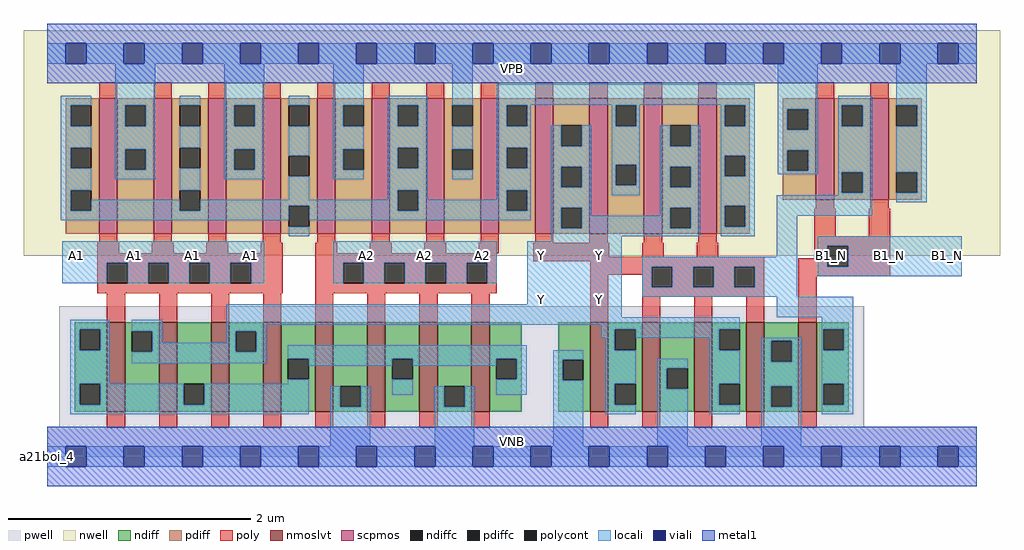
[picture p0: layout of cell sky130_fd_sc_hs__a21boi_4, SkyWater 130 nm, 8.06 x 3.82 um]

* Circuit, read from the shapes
.subckt sky130_fd_sc_hs__a21boi_4 A1 A2 B1_N VGND VNB VPB VPWR Y
XM1 Y A1 n1 VNB sky130_fd_pr__nfet_01v8_lvt w=0.74 l=0.15 m=4
XM2 VGND A2 n1 VNB sky130_fd_pr__nfet_01v8_lvt w=0.74 l=0.15 m=4
XM3 Y n2 VGND VNB sky130_fd_pr__nfet_01v8_lvt w=0.74 l=0.15 m=4
XM4 n2 B1_N VGND VNB sky130_fd_pr__nfet_01v8_lvt w=0.74 l=0.15
XM5 VPWR A1 n3 VPB sky130_fd_pr__pfet_01v8 w=1.12 l=0.15 m=4
XM6 VPWR A2 n3 VPB sky130_fd_pr__pfet_01v8 w=1.12 l=0.15 m=4
XM7 Y n2 n3 VPB sky130_fd_pr__pfet_01v8 w=1.12 l=0.15 m=4
XM8 n2 B1_N VPWR VPB sky130_fd_pr__pfet_01v8 w=0.84 l=0.15 m=2
.ends

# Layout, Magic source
magic
tech sky130A
magscale 1 2
<< nwell >>
rect -38 332 1574 704
<< pwell >>
rect 20 49 1350 248
rect 0 0 1536 49
<< scpmos >>
rect 86 368 116 592
rect 176 368 206 592
rect 266 368 296 592
rect 356 368 386 592
rect 446 368 476 592
rect 536 368 566 592
rect 626 368 656 592
rect 716 368 746 592
rect 806 368 836 592
rect 896 368 926 592
rect 986 368 1016 592
rect 1076 368 1106 592
rect 1270 424 1300 592
rect 1360 424 1390 592
<< nmoslvt >>
rect 99 74 129 222
rect 185 74 215 222
rect 271 74 301 222
rect 357 74 387 222
rect 443 74 473 222
rect 529 74 559 222
rect 615 74 645 222
rect 701 74 731 222
rect 897 74 927 222
rect 983 74 1013 222
rect 1069 74 1099 222
rect 1155 74 1185 222
rect 1241 74 1271 222
<< ndiff >>
rect 46 210 99 222
rect 46 176 54 210
rect 88 176 99 210
rect 46 120 99 176
rect 46 86 54 120
rect 88 86 99 120
rect 46 74 99 86
rect 129 207 185 222
rect 129 173 140 207
rect 174 173 185 207
rect 129 74 185 173
rect 215 120 271 222
rect 215 86 226 120
rect 260 86 271 120
rect 215 74 271 86
rect 301 207 357 222
rect 301 173 312 207
rect 346 173 357 207
rect 301 74 357 173
rect 387 162 443 222
rect 387 128 398 162
rect 432 128 443 162
rect 387 74 443 128
rect 473 116 529 222
rect 473 82 484 116
rect 518 82 529 116
rect 473 74 529 82
rect 559 162 615 222
rect 559 128 570 162
rect 604 128 615 162
rect 559 74 615 128
rect 645 116 701 222
rect 645 82 656 116
rect 690 82 701 116
rect 645 74 701 82
rect 731 162 784 222
rect 731 128 742 162
rect 776 128 784 162
rect 731 74 784 128
rect 844 160 897 222
rect 844 126 852 160
rect 886 126 897 160
rect 844 74 897 126
rect 927 210 983 222
rect 927 176 938 210
rect 972 176 983 210
rect 927 120 983 176
rect 927 86 938 120
rect 972 86 983 120
rect 927 74 983 86
rect 1013 146 1069 222
rect 1013 112 1024 146
rect 1058 112 1069 146
rect 1013 74 1069 112
rect 1099 210 1155 222
rect 1099 176 1110 210
rect 1144 176 1155 210
rect 1099 120 1155 176
rect 1099 86 1110 120
rect 1144 86 1155 120
rect 1099 74 1155 86
rect 1185 191 1241 222
rect 1185 157 1196 191
rect 1230 157 1241 191
rect 1185 116 1241 157
rect 1185 82 1196 116
rect 1230 82 1241 116
rect 1185 74 1241 82
rect 1271 210 1324 222
rect 1271 176 1282 210
rect 1316 176 1324 210
rect 1271 120 1324 176
rect 1271 86 1282 120
rect 1316 86 1324 120
rect 1271 74 1324 86
<< pdiff >>
rect 31 580 86 592
rect 31 546 39 580
rect 73 546 86 580
rect 31 510 86 546
rect 31 476 39 510
rect 73 476 86 510
rect 31 440 86 476
rect 31 406 39 440
rect 73 406 86 440
rect 31 368 86 406
rect 116 580 176 592
rect 116 546 129 580
rect 163 546 176 580
rect 116 508 176 546
rect 116 474 129 508
rect 163 474 176 508
rect 116 368 176 474
rect 206 580 266 592
rect 206 546 219 580
rect 253 546 266 580
rect 206 510 266 546
rect 206 476 219 510
rect 253 476 266 510
rect 206 440 266 476
rect 206 406 219 440
rect 253 406 266 440
rect 206 368 266 406
rect 296 580 356 592
rect 296 546 309 580
rect 343 546 356 580
rect 296 508 356 546
rect 296 474 309 508
rect 343 474 356 508
rect 296 368 356 474
rect 386 580 446 592
rect 386 546 399 580
rect 433 546 446 580
rect 386 497 446 546
rect 386 463 399 497
rect 433 463 446 497
rect 386 414 446 463
rect 386 380 399 414
rect 433 380 446 414
rect 386 368 446 380
rect 476 580 536 592
rect 476 546 489 580
rect 523 546 536 580
rect 476 508 536 546
rect 476 474 489 508
rect 523 474 536 508
rect 476 368 536 474
rect 566 580 626 592
rect 566 546 579 580
rect 613 546 626 580
rect 566 510 626 546
rect 566 476 579 510
rect 613 476 626 510
rect 566 440 626 476
rect 566 406 579 440
rect 613 406 626 440
rect 566 368 626 406
rect 656 580 716 592
rect 656 546 669 580
rect 703 546 716 580
rect 656 508 716 546
rect 656 474 669 508
rect 703 474 716 508
rect 656 368 716 474
rect 746 580 806 592
rect 746 546 759 580
rect 793 546 806 580
rect 746 510 806 546
rect 746 476 759 510
rect 793 476 806 510
rect 746 440 806 476
rect 746 406 759 440
rect 793 406 806 440
rect 746 368 806 406
rect 836 547 896 592
rect 836 513 849 547
rect 883 513 896 547
rect 836 479 896 513
rect 836 445 849 479
rect 883 445 896 479
rect 836 411 896 445
rect 836 377 849 411
rect 883 377 896 411
rect 836 368 896 377
rect 926 580 986 592
rect 926 546 939 580
rect 973 546 986 580
rect 926 482 986 546
rect 926 448 939 482
rect 973 448 986 482
rect 926 368 986 448
rect 1016 547 1076 592
rect 1016 513 1029 547
rect 1063 513 1076 547
rect 1016 479 1076 513
rect 1016 445 1029 479
rect 1063 445 1076 479
rect 1016 411 1076 445
rect 1016 377 1029 411
rect 1063 377 1076 411
rect 1016 368 1076 377
rect 1106 580 1161 592
rect 1106 546 1119 580
rect 1153 546 1161 580
rect 1106 497 1161 546
rect 1106 463 1119 497
rect 1153 463 1161 497
rect 1106 414 1161 463
rect 1215 574 1270 592
rect 1215 540 1223 574
rect 1257 540 1270 574
rect 1215 506 1270 540
rect 1215 472 1223 506
rect 1257 472 1270 506
rect 1215 424 1270 472
rect 1300 580 1360 592
rect 1300 546 1313 580
rect 1347 546 1360 580
rect 1300 470 1360 546
rect 1300 436 1313 470
rect 1347 436 1360 470
rect 1300 424 1360 436
rect 1390 580 1445 592
rect 1390 546 1403 580
rect 1437 546 1445 580
rect 1390 470 1445 546
rect 1390 436 1403 470
rect 1437 436 1445 470
rect 1390 424 1445 436
rect 1106 380 1119 414
rect 1153 380 1161 414
rect 1106 368 1161 380
<< ndiffc >>
rect 54 176 88 210
rect 54 86 88 120
rect 140 173 174 207
rect 226 86 260 120
rect 312 173 346 207
rect 398 128 432 162
rect 484 82 518 116
rect 570 128 604 162
rect 656 82 690 116
rect 742 128 776 162
rect 852 126 886 160
rect 938 176 972 210
rect 938 86 972 120
rect 1024 112 1058 146
rect 1110 176 1144 210
rect 1110 86 1144 120
rect 1196 157 1230 191
rect 1196 82 1230 116
rect 1282 176 1316 210
rect 1282 86 1316 120
<< pdiffc >>
rect 39 546 73 580
rect 39 476 73 510
rect 39 406 73 440
rect 129 546 163 580
rect 129 474 163 508
rect 219 546 253 580
rect 219 476 253 510
rect 219 406 253 440
rect 309 546 343 580
rect 309 474 343 508
rect 399 546 433 580
rect 399 463 433 497
rect 399 380 433 414
rect 489 546 523 580
rect 489 474 523 508
rect 579 546 613 580
rect 579 476 613 510
rect 579 406 613 440
rect 669 546 703 580
rect 669 474 703 508
rect 759 546 793 580
rect 759 476 793 510
rect 759 406 793 440
rect 849 513 883 547
rect 849 445 883 479
rect 849 377 883 411
rect 939 546 973 580
rect 939 448 973 482
rect 1029 513 1063 547
rect 1029 445 1063 479
rect 1029 377 1063 411
rect 1119 546 1153 580
rect 1119 463 1153 497
rect 1223 540 1257 574
rect 1223 472 1257 506
rect 1313 546 1347 580
rect 1313 436 1347 470
rect 1403 546 1437 580
rect 1403 436 1437 470
rect 1119 380 1153 414
<< poly >>
rect 86 592 116 618
rect 176 592 206 618
rect 266 592 296 618
rect 356 592 386 618
rect 446 592 476 618
rect 536 592 566 618
rect 626 592 656 618
rect 716 592 746 618
rect 806 592 836 618
rect 896 592 926 618
rect 986 592 1016 618
rect 1076 592 1106 618
rect 1270 592 1300 618
rect 1360 592 1390 618
rect 1270 409 1300 424
rect 1360 409 1390 424
rect 86 353 116 368
rect 176 353 206 368
rect 266 353 296 368
rect 356 353 386 368
rect 446 353 476 368
rect 536 353 566 368
rect 626 353 656 368
rect 716 353 746 368
rect 806 353 836 368
rect 896 353 926 368
rect 986 353 1016 368
rect 1076 353 1106 368
rect 1267 364 1303 409
rect 1357 364 1393 409
rect 83 336 119 353
rect 173 336 209 353
rect 263 336 299 353
rect 353 336 389 353
rect 83 320 389 336
rect 83 286 99 320
rect 133 286 167 320
rect 201 286 235 320
rect 269 286 303 320
rect 337 286 389 320
rect 83 270 389 286
rect 443 336 479 353
rect 533 336 569 353
rect 623 336 659 353
rect 713 336 746 353
rect 443 320 743 336
rect 803 330 929 353
rect 983 330 1019 353
rect 1073 330 1109 353
rect 1267 348 1393 364
rect 803 323 1185 330
rect 1267 328 1289 348
rect 443 286 489 320
rect 523 286 557 320
rect 591 286 625 320
rect 659 286 693 320
rect 727 286 743 320
rect 443 270 743 286
rect 897 314 1185 323
rect 897 300 999 314
rect 99 222 129 270
rect 185 222 215 270
rect 271 222 301 270
rect 357 222 387 270
rect 443 222 473 270
rect 529 222 559 270
rect 615 222 645 270
rect 701 222 731 270
rect 897 222 927 300
rect 983 280 999 300
rect 1033 280 1067 314
rect 1101 280 1135 314
rect 1169 280 1185 314
rect 983 264 1185 280
rect 983 222 1013 264
rect 1069 222 1099 264
rect 1155 222 1185 264
rect 1241 314 1289 328
rect 1323 314 1393 348
rect 1241 298 1393 314
rect 1241 222 1271 298
rect 99 48 129 74
rect 185 48 215 74
rect 271 48 301 74
rect 357 48 387 74
rect 443 48 473 74
rect 529 48 559 74
rect 615 48 645 74
rect 701 48 731 74
rect 897 48 927 74
rect 983 48 1013 74
rect 1069 48 1099 74
rect 1155 48 1185 74
rect 1241 48 1271 74
<< polycont >>
rect 99 286 133 320
rect 167 286 201 320
rect 235 286 269 320
rect 303 286 337 320
rect 489 286 523 320
rect 557 286 591 320
rect 625 286 659 320
rect 693 286 727 320
rect 999 280 1033 314
rect 1067 280 1101 314
rect 1135 280 1169 314
rect 1289 314 1323 348
<< locali >>
rect 0 649 31 683
rect 65 649 127 683
rect 161 649 223 683
rect 257 649 319 683
rect 353 649 415 683
rect 449 649 511 683
rect 545 649 607 683
rect 641 649 703 683
rect 737 649 799 683
rect 833 649 895 683
rect 929 649 991 683
rect 1025 649 1087 683
rect 1121 649 1183 683
rect 1217 649 1279 683
rect 1313 649 1375 683
rect 1409 649 1471 683
rect 1505 649 1536 683
rect 23 580 73 596
rect 23 546 39 580
rect 23 510 73 546
rect 23 476 39 510
rect 23 440 73 476
rect 113 580 179 649
rect 113 546 129 580
rect 163 546 179 580
rect 113 508 179 546
rect 113 474 129 508
rect 163 474 179 508
rect 113 458 179 474
rect 219 580 253 596
rect 219 510 253 546
rect 23 406 39 440
rect 219 440 253 476
rect 293 580 359 649
rect 293 546 309 580
rect 343 546 359 580
rect 293 508 359 546
rect 293 474 309 508
rect 343 474 359 508
rect 293 458 359 474
rect 399 580 433 596
rect 399 497 433 546
rect 73 406 219 424
rect 399 424 433 463
rect 473 580 523 649
rect 473 546 489 580
rect 473 508 523 546
rect 473 474 489 508
rect 473 458 523 474
rect 563 580 629 596
rect 563 546 579 580
rect 613 546 629 580
rect 563 510 629 546
rect 563 476 579 510
rect 613 476 629 510
rect 563 440 629 476
rect 669 580 703 649
rect 669 508 703 546
rect 669 458 703 474
rect 743 581 1169 615
rect 743 580 799 581
rect 743 546 759 580
rect 793 546 799 580
rect 933 580 979 581
rect 743 510 799 546
rect 743 476 759 510
rect 793 476 799 510
rect 563 424 579 440
rect 253 414 579 424
rect 253 406 399 414
rect 23 390 399 406
rect 433 406 579 414
rect 613 424 629 440
rect 743 440 799 476
rect 743 424 759 440
rect 613 406 759 424
rect 793 406 799 440
rect 433 390 799 406
rect 833 513 849 547
rect 883 513 899 547
rect 833 479 899 513
rect 833 445 849 479
rect 883 445 899 479
rect 833 411 899 445
rect 933 546 939 580
rect 973 546 979 580
rect 1113 580 1169 581
rect 933 482 979 546
rect 933 448 939 482
rect 973 448 979 482
rect 933 432 979 448
rect 1013 513 1029 547
rect 1063 513 1079 547
rect 1013 479 1079 513
rect 1013 445 1029 479
rect 1063 445 1079 479
rect 399 364 433 380
rect 833 377 849 411
rect 883 398 899 411
rect 1013 411 1079 445
rect 1013 398 1029 411
rect 883 377 1029 398
rect 1063 377 1079 411
rect 833 364 1079 377
rect 1113 546 1119 580
rect 1153 546 1169 580
rect 1113 497 1169 546
rect 1113 463 1119 497
rect 1153 463 1169 497
rect 1207 574 1273 649
rect 1207 540 1223 574
rect 1257 540 1273 574
rect 1207 506 1273 540
rect 1207 472 1223 506
rect 1257 472 1273 506
rect 1207 466 1273 472
rect 1307 580 1363 596
rect 1307 546 1313 580
rect 1347 546 1363 580
rect 1307 470 1363 546
rect 1113 414 1169 463
rect 1307 436 1313 470
rect 1347 436 1363 470
rect 1307 432 1363 436
rect 1113 380 1119 414
rect 1153 380 1169 414
rect 1113 364 1169 380
rect 1205 398 1363 432
rect 1403 580 1453 649
rect 1437 546 1453 580
rect 1403 470 1453 546
rect 1437 436 1453 470
rect 1403 420 1453 436
rect 833 356 949 364
rect 25 320 359 356
rect 25 286 99 320
rect 133 286 167 320
rect 201 286 235 320
rect 269 286 303 320
rect 337 286 359 320
rect 473 320 743 356
rect 473 286 489 320
rect 523 286 557 320
rect 591 286 625 320
rect 659 286 693 320
rect 727 286 743 320
rect 793 252 949 356
rect 1205 330 1239 398
rect 983 314 1239 330
rect 983 280 999 314
rect 1033 280 1067 314
rect 1101 280 1135 314
rect 1169 280 1239 314
rect 1273 348 1511 364
rect 1273 314 1289 348
rect 1323 314 1511 348
rect 1273 298 1511 314
rect 983 264 1239 280
rect 296 230 949 252
rect 1205 230 1332 264
rect 38 210 104 226
rect 38 176 54 210
rect 88 176 104 210
rect 38 120 104 176
rect 140 207 190 226
rect 174 188 190 207
rect 296 218 1144 230
rect 296 207 362 218
rect 296 188 312 207
rect 174 173 312 188
rect 346 173 362 207
rect 915 210 1144 218
rect 915 196 938 210
rect 140 154 362 173
rect 398 162 792 184
rect 922 176 938 196
rect 972 196 1110 210
rect 432 150 570 162
rect 398 120 432 128
rect 38 86 54 120
rect 88 86 226 120
rect 260 86 432 120
rect 604 150 742 162
rect 38 70 432 86
rect 468 82 484 116
rect 518 82 534 116
rect 570 102 604 128
rect 776 128 792 162
rect 468 17 534 82
rect 640 82 656 116
rect 690 82 706 116
rect 742 102 792 128
rect 836 160 886 176
rect 836 126 852 160
rect 640 17 706 82
rect 836 17 886 126
rect 922 120 972 176
rect 1094 176 1110 196
rect 1280 210 1332 230
rect 922 86 938 120
rect 922 70 972 86
rect 1008 146 1058 162
rect 1008 112 1024 146
rect 1008 17 1058 112
rect 1094 120 1144 176
rect 1094 86 1110 120
rect 1094 70 1144 86
rect 1180 191 1246 196
rect 1180 157 1196 191
rect 1230 157 1246 191
rect 1180 116 1246 157
rect 1180 82 1196 116
rect 1230 82 1246 116
rect 1180 17 1246 82
rect 1280 176 1282 210
rect 1316 176 1332 210
rect 1280 120 1332 176
rect 1280 86 1282 120
rect 1316 86 1332 120
rect 1280 70 1332 86
rect 0 -17 31 17
rect 65 -17 127 17
rect 161 -17 223 17
rect 257 -17 319 17
rect 353 -17 415 17
rect 449 -17 511 17
rect 545 -17 607 17
rect 641 -17 703 17
rect 737 -17 799 17
rect 833 -17 895 17
rect 929 -17 991 17
rect 1025 -17 1087 17
rect 1121 -17 1183 17
rect 1217 -17 1279 17
rect 1313 -17 1375 17
rect 1409 -17 1471 17
rect 1505 -17 1536 17
<< viali >>
rect 31 649 65 683
rect 127 649 161 683
rect 223 649 257 683
rect 319 649 353 683
rect 415 649 449 683
rect 511 649 545 683
rect 607 649 641 683
rect 703 649 737 683
rect 799 649 833 683
rect 895 649 929 683
rect 991 649 1025 683
rect 1087 649 1121 683
rect 1183 649 1217 683
rect 1279 649 1313 683
rect 1375 649 1409 683
rect 1471 649 1505 683
rect 31 -17 65 17
rect 127 -17 161 17
rect 223 -17 257 17
rect 319 -17 353 17
rect 415 -17 449 17
rect 511 -17 545 17
rect 607 -17 641 17
rect 703 -17 737 17
rect 799 -17 833 17
rect 895 -17 929 17
rect 991 -17 1025 17
rect 1087 -17 1121 17
rect 1183 -17 1217 17
rect 1279 -17 1313 17
rect 1375 -17 1409 17
rect 1471 -17 1505 17
<< metal1 >>
rect 0 683 1536 715
rect 0 649 31 683
rect 65 649 127 683
rect 161 649 223 683
rect 257 649 319 683
rect 353 649 415 683
rect 449 649 511 683
rect 545 649 607 683
rect 641 649 703 683
rect 737 649 799 683
rect 833 649 895 683
rect 929 649 991 683
rect 1025 649 1087 683
rect 1121 649 1183 683
rect 1217 649 1279 683
rect 1313 649 1375 683
rect 1409 649 1471 683
rect 1505 649 1536 683
rect 0 617 1536 649
rect 0 17 1536 49
rect 0 -17 31 17
rect 65 -17 127 17
rect 161 -17 223 17
rect 257 -17 319 17
rect 353 -17 415 17
rect 449 -17 511 17
rect 545 -17 607 17
rect 641 -17 703 17
rect 737 -17 799 17
rect 833 -17 895 17
rect 929 -17 991 17
rect 1025 -17 1087 17
rect 1121 -17 1183 17
rect 1217 -17 1279 17
rect 1313 -17 1375 17
rect 1409 -17 1471 17
rect 1505 -17 1536 17
rect 0 -49 1536 -17
<< labels >>
rlabel comment s 0 0 0 0 4 a21boi_4
flabel pwell s 0 0 1536 49 0 FreeSans 200 0 0 0 VNB
port 5 nsew ground bidirectional
flabel nwell s 0 617 1536 666 0 FreeSans 200 0 0 0 VPB
port 6 nsew power bidirectional
flabel metal1 s 0 617 1536 666 0 FreeSans 340 0 0 0 VPWR
port 7 nsew power bidirectional
flabel metal1 s 0 0 1536 49 0 FreeSans 340 0 0 0 VGND
port 4 nsew ground bidirectional
flabel locali s 1279 316 1313 350 0 FreeSans 340 0 0 0 B1_N
port 3 nsew signal input
flabel locali s 1375 316 1409 350 0 FreeSans 340 0 0 0 B1_N
port 3 nsew signal input
flabel locali s 1471 316 1505 350 0 FreeSans 340 0 0 0 B1_N
port 3 nsew signal input
flabel locali s 799 242 833 276 0 FreeSans 340 0 0 0 Y
port 8 nsew signal output
flabel locali s 799 316 833 350 0 FreeSans 340 0 0 0 Y
port 8 nsew signal output
flabel locali s 895 242 929 276 0 FreeSans 340 0 0 0 Y
port 8 nsew signal output
flabel locali s 895 316 929 350 0 FreeSans 340 0 0 0 Y
port 8 nsew signal output
flabel locali s 511 316 545 350 0 FreeSans 340 0 0 0 A2
port 2 nsew signal input
flabel locali s 607 316 641 350 0 FreeSans 340 0 0 0 A2
port 2 nsew signal input
flabel locali s 703 316 737 350 0 FreeSans 340 0 0 0 A2
port 2 nsew signal input
flabel locali s 31 316 65 350 0 FreeSans 340 0 0 0 A1
port 1 nsew signal input
flabel locali s 127 316 161 350 0 FreeSans 340 0 0 0 A1
port 1 nsew signal input
flabel locali s 223 316 257 350 0 FreeSans 340 0 0 0 A1
port 1 nsew signal input
flabel locali s 319 316 353 350 0 FreeSans 340 0 0 0 A1
port 1 nsew signal input
<< properties >>
string LEFsite unit
string LEFclass CORE
string FIXED_BBOX 0 0 1536 666
string GDS_FILE $PDKPATH/libs.ref/sky130_fd_sc_hs/gds/sky130_fd_sc_hs.gds
string LEFsymmetry X Y
string GDS_END 3726630
string GDS_START 3713662
<< end >>
